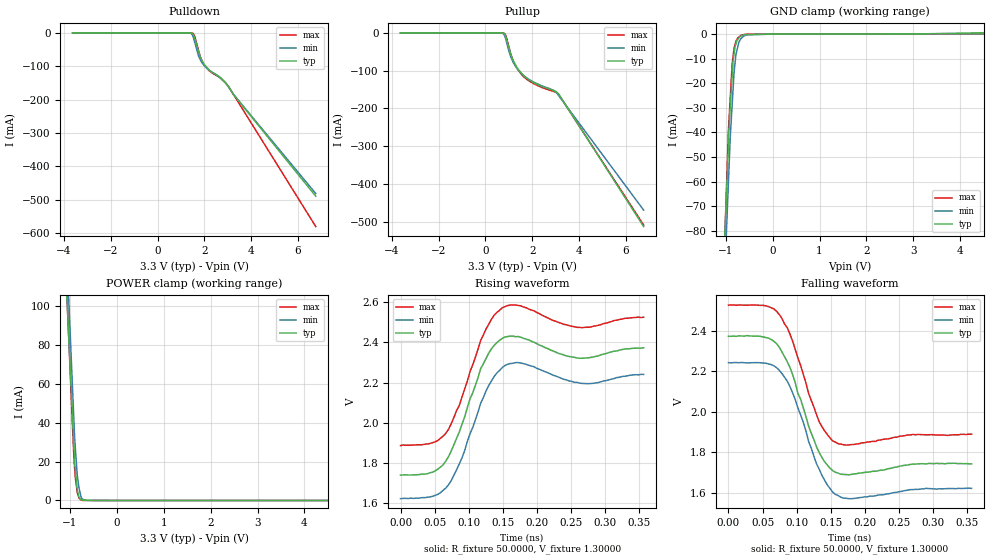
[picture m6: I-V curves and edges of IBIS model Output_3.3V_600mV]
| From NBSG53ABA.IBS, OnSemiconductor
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[Model] Output_3.3V_600mV
Model_type Output_ECL
Vref=1.30000V
Rref=50.0000ohms
Cref=0.00000pF
Vmeas=2.05000V
C_comp 500.0fF 500.0fF 500.0fF
[Model Spec]
Vmeas 2.056145  1.93217  2.20617
|Vref  1.30000V  1.1350V  1.4650V
|Rref  50ohms   50ohms   50ohms
|Cref  0.00pF   0.00pF   0.00pF
| variable typ   min   max
[Voltage Range]   3.30000V  3.13500V  3.46500V
[POWER Clamp Reference] 3.30000V  3.13500V  3.46500V
[Pullup Reference]   3.30000V  3.13500V  3.46500V
[Pulldown Reference]   3.30000V  3.13500V  3.46500V
[GND Clamp Reference]   0.00000V  0.00000V  0.00000V
[Temperature Range]  25   85   0
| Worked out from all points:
|   GND clamp passes 1 mA (typ) near -0.69 V on its own axis
|   POWER clamp passes 1 mA (typ) near -0.78 V on its own axis
|   falling waveform, R_fixture 50.0000, V_fixture 1.30000: 20-80 % time 38.3ps typ, 38ps min, 37.8ps max; typ from 2.37 V to 1.74 V
|   rising waveform, R_fixture 50.0000, V_fixture 1.30000: 20-80 % time 40.4ps typ, 41ps min, 39.7ps max; typ from 1.74 V to 2.37 V
[GND Clamp]
-3.3V     -1.415A    -1.34A     -1.377A
-1.023V   -84.87mA   -99.06mA   -85.41mA
-942mV    -45.21mA   -60.81mA   -39.4mA
-921.7mV  -35.26mA   -51.22mA   -32.53mA
-901.3mV  -29.04mA   -41.61mA   -25.64mA
-861.1mV  -16.75mA   -28.61mA   -12.03mA
-841mV    -10.61mA   -22.12mA   -8.898mA
-820.9mV  -7.934mA   -15.62mA   -5.756mA
-780.5mV  -4.005mA   -8.315mA   -2.949mA
-679.2mV  -888uA     -2.011mA   -648uA
61.72mV   -57.95uA   -46.75uA   -66uA
6.6V      1.235mA    57.49uA    37.43uA
[Pulldown]
-3.63V    83.32uA    16.32uA    63.97uA
1.334V    -6.108uA   -50.64uA   41.98uA
1.455V    -504.1uA   -2.61mA    -267.2uA
1.522V    -4.05mA    -12.11mA   -1.839mA
1.604V    -18.6mA    -31.69mA   -13.74mA
1.753V    -54.85mA   -69.08mA   -52.42mA
1.826V    -71.66mA   -79.91mA   -71.14mA
2.019V    -96.83mA   -100.2mA   -97.96mA
2.573V    -128.1mA   -128.3mA   -129.9mA
3.044V    -161.5mA   -163mA     -161.7mA
3.259V    -185.8mA   -185.1mA   -185.8mA
6.765V    -489.2mA   -481.2mA   -580.2mA
[Pullup]
-3.63V    52.81uA    -2.17uA    46.65uA
578.3mV   39.75uA    -34.54uA   46.65uA
801.8mV   -1.884mA   -5.567mA   -1.113mA
877.1mV   -10.72mA   -18.78mA   -8.258mA
1.018V    -42.27mA   -51.59mA   -40.98mA
1.16V     -69.67mA   -74.61mA   -69.98mA
1.337V    -90.78mA   -92.83mA   -92.88mA
1.479V    -102.6mA   -103.8mA   -105.1mA
1.999V    -129.3mA   -128.2mA   -132.3mA
2.94V     -153.3mA   -153mA     -155.6mA
3.137V    -162.5mA   -166.8mA   -163.8mA
6.765V    -513mA     -469.5mA   -508.9mA
[POWER Clamp]
-3.63V    1.426A     1.585A     1.564A
-1.08V    113.3mA    135.7mA    115.7mA
-1.039V   92.56mA    112.8mA    92.79mA
-1.019V   82.06mA    101.2mA    81.2mA
-910.5mV  26.2mA     39.61mA    20.65mA
-897.7mV  19.61mA    32.34mA    16.57mA
-882.8mV  15.77mA    27.16mA    11.83mA
-842.3mV  5.334mA    13.09mA    4.106mA
-802mV    1.595mA    6.111mA    1.101mA
-761.4mV  389.6uA    1.871mA    204.2uA
-619.9mV  114.9uA    31.5uA     20.12uA
6.765V    0A         0A         0A
[Falling Waveform]
R_fixture = 50.0000
V_fixture = 1.30000
V_fixture_min = 1.13500
V_fixture_max = 1.46500
0s        2.372V     2.242V     2.526V
50.9ps    2.369V     2.24V      2.525V
74.5ps    2.319V     2.204V     2.48V
94.1ps    2.183V     2.093V     2.349V
117.6ps   1.928V     1.853V     2.09V
129.3ps   1.826V     1.742V     1.984V
152.9ps   1.708V     1.603V     1.855V
180.3ps   1.69V      1.57V      1.837V
270.5ps   1.741V     1.615V     1.887V
356.7ps   1.741V     1.621V     1.888V
[Rising Waveform]
R_fixture = 50.0000
V_fixture = 1.30000
V_fixture_min = 1.13500
V_fixture_max = 1.46500
0s        1.74V      1.623V     1.887V
47ps      1.754V     1.635V     1.901V
66.6ps    1.811V     1.676V     1.948V
90.1ps    1.992V     1.825V     2.128V
117.6ps   2.269V     2.098V     2.41V
137.2ps   2.384V     2.229V     2.534V
148.9ps   2.419V     2.273V     2.571V
176.4ps   2.426V     2.297V     2.582V
262.6ps   2.321V     2.197V     2.474V
356.7ps   2.373V     2.24V      2.525V
[Ramp]
| variable typ min max
dV/dt_r 379.489m/39.9757p 371.271m/40.7592p 384.746m/39.4386p
dV/dt_f 379.489m/37.8171p 371.271m/38.0812p 384.746m/37.4234p
R_load = 50.0000Ohms
